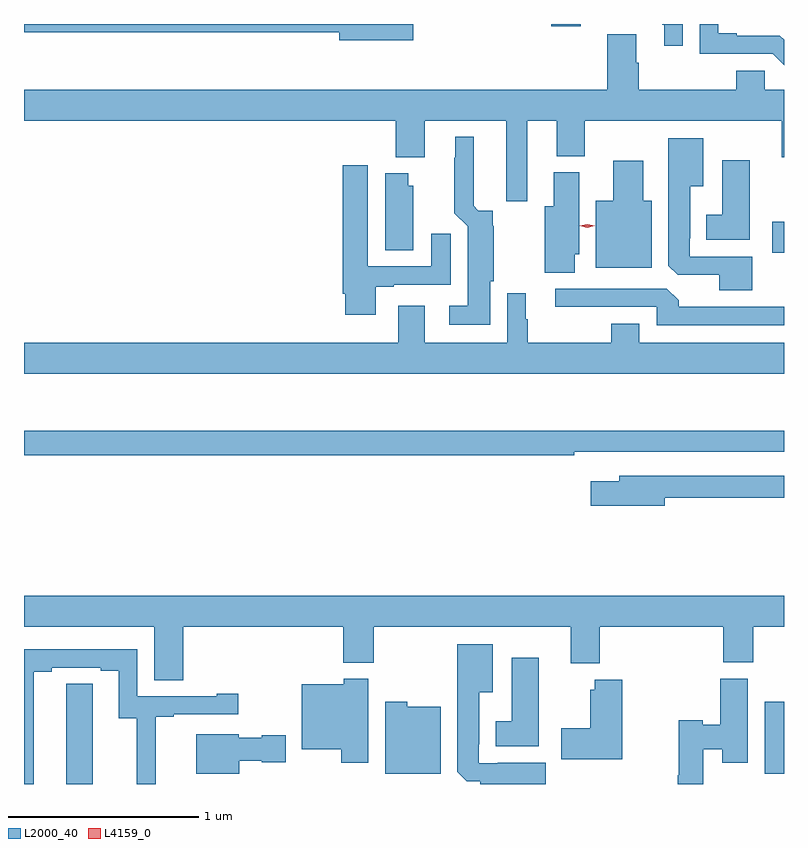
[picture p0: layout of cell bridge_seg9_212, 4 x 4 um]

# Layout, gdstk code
import gdstk
lib = gdstk.Library(unit=1e-6, precision=1e-09)
def R(c, l, rs):  # rectangles x0, y0, x1, y1
    for r in rs: c.add(gdstk.rectangle(r[:2], r[2:], *l))
def P(c, l, *ps):  # polygons
    for p in ps: c.add(gdstk.Polygon(p, *l))
L2000_40 = (2000, 40)
L4159_0 = (4159, 0)

bridge_seg9_212 = lib.new_cell('bridge_seg9_212')
R(bridge_seg9_212, L2000_40, [(195.332,1198.31,195.434,1198.69), (195.372,1201.052,195.434,1201.215), (194.21,1202.244,194.364,1202.257)])
P(bridge_seg9_212, L2000_40, [(194.901,1202.257),(194.793,1202.257),(194.793,1202.254),(194.804,1202.254),(194.804,1202.142),(194.901,1202.142)],
  [(195.434,1202.173),(195.411,1202.196),(195.184,1202.196),(195.184,1202.209),(195.088,1202.209),(195.088,1202.257),(194.991,1202.257),(194.991,1202.1),(195.375,1202.1),(195.434,1202.041)],
  [(193.483,1202.257),(191.434,1202.257),(191.434,1202.214),(193.094,1202.214),(193.094,1202.171),(193.483,1202.171)],
  [(194.083,1201.748),(194.237,1201.748),(194.237,1201.561),(194.385,1201.561),(194.385,1201.748),(195.422,1201.748),(195.422,1201.556),(195.434,1201.556),(195.434,1201.912),(195.333,1201.912),(195.333,1202.01),(195.182,1202.01),(195.182,1201.912),(194.669,1201.912),(194.669,1202.054),(194.656,1202.054),(194.656,1202.203),(194.504,1202.203),(194.504,1201.912),(191.434,1201.912),(191.434,1201.748),(193.391,1201.748),(193.391,1201.556),(193.543,1201.556),(193.543,1201.748),(193.973,1201.748),(193.973,1201.323),(194.083,1201.323)],
  [(193.888,1200.903),(193.906,1200.903),(193.906,1201.193),(193.9,1201.199),(193.9,1201.275),(193.825,1201.275),(193.801,1201.3),(193.801,1201.663),(193.703,1201.663),(193.703,1201.553),(193.699,1201.553),(193.699,1201.262),(193.769,1201.192),(193.769,1200.775),(193.671,1200.775),(193.671,1200.674),(193.888,1200.674)],
  [(195.268,1201.032),(194.937,1201.032),(194.937,1201.129),(194.941,1201.129),(194.941,1201.403),(195.01,1201.403),(195.01,1201.657),(194.825,1201.657),(194.825,1200.985),(194.874,1200.936),(195.092,1200.936),(195.092,1200.857),(195.268,1200.857)],
  [(195.253,1201.54),(195.11,1201.54),(195.11,1201.252),(195.026,1201.252),(195.026,1201.121),(195.253,1201.121)],
  [(194.737,1201.327),(194.692,1201.327),(194.692,1201.537),(194.534,1201.537),(194.534,1201.327),(194.444,1201.327),(194.444,1200.974),(194.737,1200.974)],
  [(193.285,1200.873),(193.381,1200.873),(193.381,1200.885),(193.681,1200.885),(193.681,1201.153),(193.577,1201.153),(193.577,1200.981),(193.243,1200.981),(193.243,1201.513),(193.112,1201.513),(193.112,1200.838),(193.124,1200.838),(193.124,1200.726),(193.285,1200.726)],
  [(194.332,1201.044),(194.356,1201.044),(194.356,1201.476),(194.222,1201.476),(194.222,1201.297),(194.174,1201.297),(194.174,1200.949),(194.332,1200.949)],
  [(193.483,1201.407),(193.456,1201.407),(193.456,1201.471),(193.334,1201.471),(193.334,1201.066),(193.483,1201.066)],
  [(195.434,1200.768),(194.879,1200.768),(194.879,1200.802),(194.817,1200.864),(194.229,1200.864),(194.229,1200.768),(194.763,1200.768),(194.763,1200.672),(195.434,1200.672)],
  [(195.434,1200.58),(194.671,1200.58),(194.671,1200.679),(194.524,1200.679),(194.524,1200.58),(194.086,1200.58),(194.086,1200.702),(194.074,1200.702),(194.074,1200.841),(193.977,1200.841),(193.977,1200.58),(193.543,1200.58),(193.543,1200.775),(193.403,1200.775),(193.403,1200.58),(191.434,1200.58),(191.434,1200.416),(195.434,1200.416)],
  [(194.33,1200.006),(195.434,1200.006),(195.434,1200.115),(191.434,1200.115),(191.434,1199.986),(194.33,1199.986)],
  [(194.806,1199.764),(195.434,1199.764),(195.434,1199.88),(194.567,1199.88),(194.567,1199.851),(194.418,1199.851),(194.418,1199.722),(194.806,1199.722)],
  [(192.272,1199.084),(193.115,1199.084),(193.115,1198.895),(193.275,1198.895),(193.275,1199.084),(194.312,1199.084),(194.312,1198.892),(194.465,1198.892),(194.465,1199.084),(195.113,1199.084),(195.113,1198.897),(195.273,1198.897),(195.273,1199.084),(195.434,1199.084),(195.434,1199.248),(191.434,1199.248),(191.434,1199.084),(192.119,1199.084),(192.119,1198.804),(192.272,1198.804)],
  [(194.179,1198.369),(193.927,1198.369),(193.927,1198.365),(193.827,1198.365),(193.827,1198.465),(193.831,1198.465),(193.831,1198.739),(193.9,1198.739),(193.9,1198.993),(193.715,1198.993),(193.715,1198.321),(193.764,1198.272),(193.835,1198.272),(193.835,1198.257),(194.179,1198.257)],
  [(191.485,1198.849),(191.581,1198.849),(191.581,1198.869),(191.837,1198.869),(191.837,1198.854),(191.933,1198.854),(191.933,1198.603),(192.028,1198.603),(192.028,1198.257),(192.128,1198.257),(192.128,1198.611),(192.223,1198.611),(192.223,1198.623),(192.562,1198.623),(192.562,1198.732),(192.449,1198.732),(192.449,1198.719),(192.03,1198.719),(192.03,1198.965),(191.434,1198.965),(191.434,1198.257),(191.485,1198.257)],
  [(194.143,1198.921),(194,1198.921),(194,1198.588),(193.916,1198.588),(193.916,1198.457),(194.143,1198.457)],
  [(195.01,1198.439),(195.11,1198.439),(195.11,1198.368),(195.244,1198.368),(195.244,1198.812),(195.098,1198.812),(195.098,1198.569),(195.006,1198.569),(195.006,1198.592),(194.881,1198.592),(194.881,1198.303),(194.876,1198.303),(194.876,1198.257),(195.01,1198.257)],
  [(193.246,1198.81),(193.116,1198.81),(193.116,1198.783),(192.896,1198.783),(192.896,1198.439),(193.105,1198.439),(193.105,1198.368),(193.246,1198.368)],
  [(194.582,1198.807),(194.437,1198.807),(194.437,1198.753),(194.414,1198.753),(194.414,1198.551),(194.262,1198.551),(194.262,1198.388),(194.582,1198.388)],
  [(191.797,1198.676),(191.796,1198.676),(191.796,1198.784),(191.657,1198.784),(191.657,1198.257),(191.797,1198.257)],
  [(193.627,1198.663),(193.452,1198.663),(193.452,1198.69),(193.334,1198.69),(193.334,1198.31),(193.627,1198.31)],
  [(192.568,1198.379),(192.684,1198.379),(192.684,1198.372),(192.811,1198.372),(192.811,1198.514),(192.684,1198.514),(192.684,1198.501),(192.564,1198.501),(192.564,1198.519),(192.341,1198.519),(192.341,1198.31),(192.568,1198.31)])
P(bridge_seg9_212, L4159_0, [(194.399,1201.184),(194.36,1201.194),(194.36,1201.194),(194.36,1201.194),(194.399,1201.204),(194.437,1201.194),(194.437,1201.194),(194.437,1201.194)])

lib.write_gds('bridge_seg9_212.gds')
